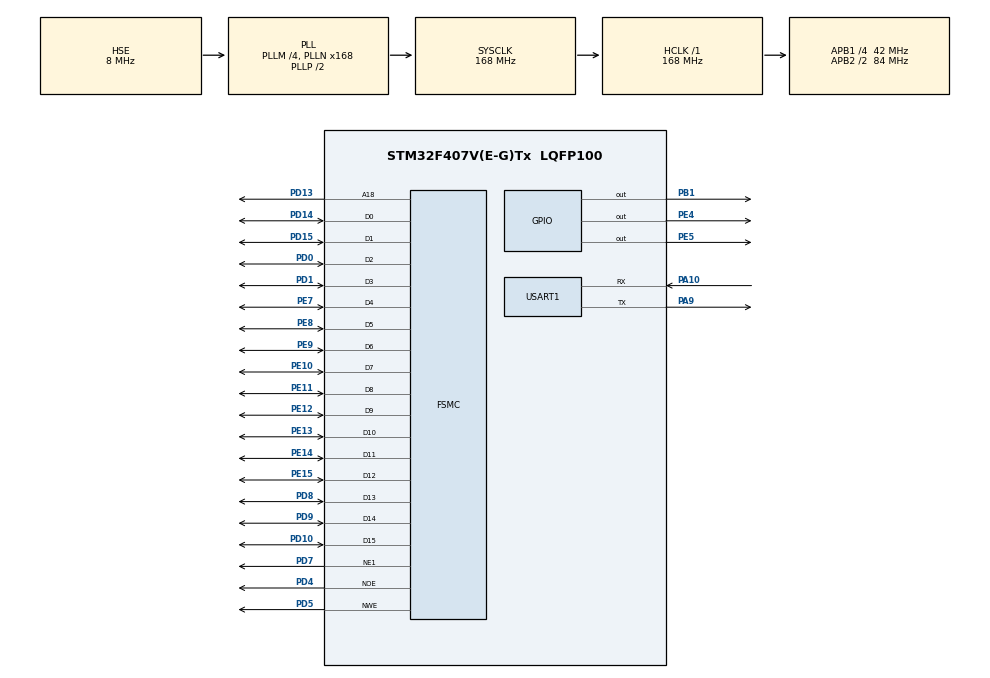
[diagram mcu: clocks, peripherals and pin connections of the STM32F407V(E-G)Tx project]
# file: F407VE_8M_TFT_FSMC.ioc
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FSMC.BusTurnAroundDuration1=0
FSMC.DataSetupTime1=60
FSMC.ExtendedAddressSetupTime1=9
FSMC.ExtendedBusTurnAroundDuration1=0
FSMC.ExtendedDataSetupTime1=8
FSMC.ExtendedMode1=FSMC_EXTENDED_MODE_ENABLE
Mcu.Family=STM32F4
Mcu.Name=STM32F407V(E-G)Tx
Mcu.Package=LQFP100
NVIC.PriorityGroup=NVIC_PRIORITYGROUP_4
NVIC.USART1_IRQn=true\:0\:0\:false\:false\:true\:true\:true
PA10.Mode=Asynchronous
PA10.Signal=USART1_RX
PA13.Mode=Serial_Wire
PA13.Signal=SYS_JTMS-SWDIO
PA14.Mode=Serial_Wire
PA14.Signal=SYS_JTCK-SWCLK
PA9.Mode=Asynchronous
PA9.Signal=USART1_TX
PB1.Signal=GPIO_Output
PC14-OSC32_IN.Mode=LSE-External-Oscillator
PC14-OSC32_IN.Signal=RCC_OSC32_IN
PC15-OSC32_OUT.Mode=LSE-External-Oscillator
PC15-OSC32_OUT.Signal=RCC_OSC32_OUT
PD0.Mode=16b-d1
PD0.Signal=FSMC_D2
PD1.Mode=16b-d1
PD1.Signal=FSMC_D3
PD10.Mode=16b-d1
PD10.Signal=FSMC_D15
PD13.Mode=A18_1
PD13.Signal=FSMC_A18
PD14.Mode=16b-d1
PD14.Signal=FSMC_D0
PD15.Mode=16b-d1
PD15.Signal=FSMC_D1
PD4.Mode=Lcd1
PD4.Signal=FSMC_NOE
PD5.Mode=Lcd1
PD5.Signal=FSMC_NWE
PD7.Mode=NorPsramChipSelect1_1
PD7.Signal=FSMC_NE1
PD8.Mode=16b-d1
PD8.Signal=FSMC_D13
PD9.Mode=16b-d1
PD9.Signal=FSMC_D14
PE10.Mode=16b-d1
PE10.Signal=FSMC_D7
PE11.Mode=16b-d1
PE11.Signal=FSMC_D8
PE12.Mode=16b-d1
PE12.Signal=FSMC_D9
PE13.Mode=16b-d1
PE13.Signal=FSMC_D10
PE14.Mode=16b-d1
PE14.Signal=FSMC_D11
PE15.Mode=16b-d1
PE15.Signal=FSMC_D12
PE4.GPIO_ModeDefaultOutputPP=GPIO_MODE_OUTPUT_PP
PE4.GPIO_PuPd=GPIO_PULLUP
PE4.GPIO_Speed=GPIO_SPEED_FREQ_VERY_HIGH
PE4.PinState=GPIO_PIN_SET
PE4.Signal=GPIO_Output
PE5.GPIO_ModeDefaultOutputPP=GPIO_MODE_OUTPUT_PP
PE5.GPIO_PuPd=GPIO_PULLUP
PE5.GPIO_Speed=GPIO_SPEED_FREQ_VERY_HIGH
PE5.PinState=GPIO_PIN_SET
PE5.Signal=GPIO_Output
PE7.Mode=16b-d1
PE7.Signal=FSMC_D4
PE8.Mode=16b-d1
PE8.Signal=FSMC_D5
PE9.Mode=16b-d1
PE9.Signal=FSMC_D6
PH0-OSC_IN.Mode=HSE-External-Oscillator
PH0-OSC_IN.Signal=RCC_OSC_IN
PH1-OSC_OUT.Mode=HSE-External-Oscillator
PH1-OSC_OUT.Signal=RCC_OSC_OUT
ProjectManager.HeapSize=0x200
ProjectManager.StackSize=0x400
ProjectManager.TargetToolchain=MDK-ARM V5.27
RCC.48MHZClocksFreq_Value=84000000
RCC.AHBFreq_Value=168000000
RCC.APB1CLKDivider=RCC_HCLK_DIV4
RCC.APB1Freq_Value=42000000
RCC.APB1TimFreq_Value=84000000
RCC.APB2CLKDivider=RCC_HCLK_DIV2
RCC.APB2Freq_Value=84000000
RCC.APB2TimFreq_Value=168000000
RCC.CortexFreq_Value=168000000
RCC.HCLKFreq_Value=168000000
RCC.HSE_VALUE=8000000
RCC.HSI_VALUE=16000000
RCC.PLLM=4
RCC.PLLN=168
RCC.PLLSourceVirtual=RCC_PLLSOURCE_HSE
RCC.SYSCLKFreq_VALUE=168000000
RCC.SYSCLKSource=RCC_SYSCLKSOURCE_PLLCLK
RCC.VCOOutputFreq_Value=336000000
USART1.VirtualMode=VM_ASYNC
board=custom

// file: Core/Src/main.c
/* USER CODE BEGIN Header */
/**
  ******************************************************************************
  * @file           : main.c
  * @brief          : Main program body
  ******************************************************************************
  * @attention
  *
  * <h2><center>&copy; Copyright (c) 2021 STMicroelectronics.
  * All rights reserved.</center></h2>
  *
  * This software component is licensed by ST under BSD 3-Clause license,
  * the "License"; You may not use this file except in compliance with the
  * License. You may obtain a copy of the License at:
  *                        opensource.org/licenses/BSD-3-Clause
  *
  ******************************************************************************
  */
/* USER CODE END Header */
#include "main.h"
#include "usart.h"
#include "gpio.h"
#include "fsmc.h"

/* USER CODE BEGIN Includes */
#include "LCD/lcd.h"
#include "DELAY/delay.h"
#include "UTIL/util.h"
/* USER CODE END Includes */

void SystemClock_Config(void);

int main(void)
{
  /* USER CODE BEGIN 1 */
  char lcd_id[32];
  uint8_t x = 0;
  /* USER CODE END 1 */

  /* MCU Configuration--------------------------------------------------------*/

  /* Reset of all peripherals, Initializes the Flash interface and the Systick. */
  HAL_Init();

  /* Configure the system clock */
  SystemClock_Config();

  /* Initialize all configured peripherals */
  MX_GPIO_Init();
  MX_USART1_UART_Init();
  MX_FSMC_Init();
  /* USER CODE BEGIN 2 */
  Delay_Init(168);
  Delay_ms(200);
  LCD_Init();
  myitoa(lcddev.id,lcd_id,16);
  LCD_SetPointColor(BLACK);
  LCD_SetBkGNDColor(BLUE);
  Delay_ms(200);
  /* USER CODE END 2 */

  /* Infinite loop */
  while (1)
  {

    /* USER CODE BEGIN 3 */
    switch(x)
		{
			case 0:LCD_Clear(WHITE);break;
			case 1:LCD_Clear(BLACK);break;
			case 2:LCD_Clear(BLUE);break;
			case 3:LCD_Clear(RED);break;
			case 4:LCD_Clear(MAGENTA);break;
			case 5:LCD_Clear(GREEN);break;
			case 6:LCD_Clear(CYAN);break;
			case 7:LCD_Clear(YELLOW);break;
			case 8:LCD_Clear(BRRED);break;
			case 9:LCD_Clear(GRAY);break;
			case 10:LCD_Clear(LGRAY);break;
			case 11:LCD_Clear(BROWN);break;
		}
		LCD_ShowString(30,10,210,24,24,"Migrated from");
    LCD_ShowString(30,40,210,24,24,"ALIENTEK 24x24");
		LCD_ShowString(30,70,200,16,16,"TFTLCD TEST");
		LCD_ShowString(30,90,200,16,16,"16x16");
    LCD_ShowString(30,110,200,12,12,lcd_id);
		LCD_ShowString(30,125,200,12,12,"12x12");
		x++;
		if(x==12)x=0;
    Delay_ms(1000);
  }
  /* USER CODE END 3 */
}

void SystemClock_Config(void)
{
  RCC_OscInitTypeDef RCC_OscInitStruct = {0};
  RCC_ClkInitTypeDef RCC_ClkInitStruct = {0};

  /** Configure the main internal regulator output voltage
  */
  __HAL_RCC_PWR_CLK_ENABLE();
  __HAL_PWR_VOLTAGESCALING_CONFIG(PWR_REGULATOR_VOLTAGE_SCALE1);
  /** Initializes the RCC Oscillators according to the specified parameters
  * in the RCC_OscInitTypeDef structure.
  */
  RCC_OscInitStruct.OscillatorType = RCC_OSCILLATORTYPE_HSE;
  RCC_OscInitStruct.HSEState = RCC_HSE_ON;
  RCC_OscInitStruct.PLL.PLLState = RCC_PLL_ON;
  RCC_OscInitStruct.PLL.PLLSource = RCC_PLLSOURCE_HSE;
  RCC_OscInitStruct.PLL.PLLM = 4;
  RCC_OscInitStruct.PLL.PLLN = 168;
  RCC_OscInitStruct.PLL.PLLP = RCC_PLLP_DIV2;
  RCC_OscInitStruct.PLL.PLLQ = 4;
  if (HAL_RCC_OscConfig(&RCC_OscInitStruct) != HAL_OK)
  {
    Error_Handler();
  }
  /** Initializes the CPU, AHB and APB buses clocks
  */
  RCC_ClkInitStruct.ClockType = RCC_CLOCKTYPE_HCLK|RCC_CLOCKTYPE_SYSCLK
                              |RCC_CLOCKTYPE_PCLK1|RCC_CLOCKTYPE_PCLK2;
  RCC_ClkInitStruct.SYSCLKSource = RCC_SYSCLKSOURCE_PLLCLK;
  RCC_ClkInitStruct.AHBCLKDivider = RCC_SYSCLK_DIV1;
  RCC_ClkInitStruct.APB1CLKDivider = RCC_HCLK_DIV4;
  RCC_ClkInitStruct.APB2CLKDivider = RCC_HCLK_DIV2;

  if (HAL_RCC_ClockConfig(&RCC_ClkInitStruct, FLASH_LATENCY_5) != HAL_OK)
  {
    Error_Handler();
  }
}

void Error_Handler(void)
{
  __disable_irq();
  while (1)
  {
  }
}

/************************ (C) COPYRIGHT STMicroelectronics *****END OF FILE****/
